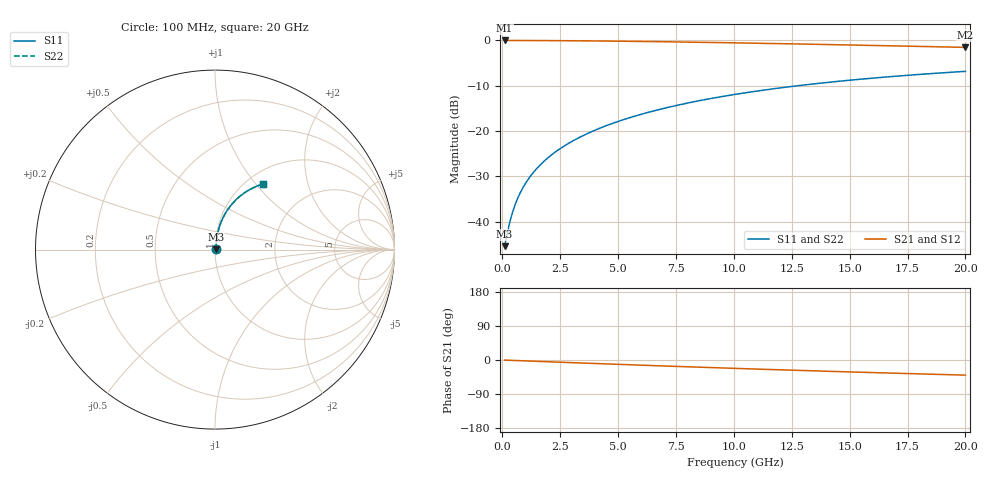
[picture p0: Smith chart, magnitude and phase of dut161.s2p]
! Touchstone file exported from HFSS 2024.1.0
!  File:  C:/UserFiles/LocalFiles/RDL_TSV_Batchsim/temp_RDL_top_161_1778685482.aedt
!  Generated:  11:20:16 PM May 13, 2026
!  Design:  RDL_top
!  Project:  temp_RDL_top_161_1778685482
!  Setup:  Setup1
!  Solution:  Sweep
! Variables:
!  dtsv = 10.80580581um
!  hbump = 3um
!  htsv = 78.25um
!  ldown = 100um
!  lrdl = 471.08um
!  p = 40
!  p1 = 58.15um
!  rhole = 1um
!  t = 450um
!  tdown = 3.915915916um
!  trdl = 2.43um
!  wdown = 15.38538539um
!  wrdl = 15.21um
# GHz S MA R 50.000000
! Terminal data exported
! Port[1] = Box2_T1
! Port[2] = Box2_T2
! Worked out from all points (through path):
!   200 points, 100 MHz to 20 GHz, reference 50 ohm
!   highest |S21| = -0.04 dB at 100 MHz (marker M1); lowest = -1.6 dB at 20 GHz (marker M2)
!   group delay of S21, straight-line fit = 5.54 ps
!   lowest |S11| = -45.4 dB at 100 MHz (marker M3), VSWR 1.01, Z = 50.5 + j0.269 ohm
!   |S11| at or under -10 dB: start of sweep to 12.79 GHz
!   |S22| runs from -45.4 to -6.8 dB; largest |S21 - S12| = 2e-15
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0.1  0.005394 29.6  0.9953 -0.2  0.9953 -0.2  0.005394 29.6
! Gamma 0 0 0 0
! Port Impedance 50 0 50 0
0.3  0.009326 58.5  0.9951 -0.7  0.9951 -0.7  0.009326 58.5
0.4  0.01169 64.6  0.995 -1.0  0.995 -1.0  0.01169 64.6
0.5  0.01412 68.5  0.9948 -1.2  0.9948 -1.2  0.01412 68.5
0.6  0.01658 71.2  0.9946 -1.4  0.9946 -1.4  0.01658 71.2
0.8  0.02152 74.6  0.9943 -1.9  0.9943 -1.9  0.02152 74.6
1.1  0.02896 77.4  0.9937 -2.6  0.9937 -2.6  0.02896 77.4
1.5  0.03891 79.4  0.9927 -3.5  0.9927 -3.5  0.03891 79.4
1.8  0.04642 80.1  0.992 -4.2  0.992 -4.2  0.04642 80.1
2.1  0.05395 80.6  0.9911 -4.9  0.9911 -4.9  0.05395 80.6
2.7  0.06908 80.9  0.989 -6.3  0.989 -6.3  0.06908 80.9
3.5  0.08938 80.6  0.9856 -8.1  0.9856 -8.1  0.08938 80.6
4.2  0.1072 80.0  0.982 -9.7  0.982 -9.7  0.1072 80.0
5  0.1276 79.1  0.9773 -11.5  0.9773 -11.5  0.1276 79.1
5.9  0.1506 77.9  0.9713 -13.5  0.9713 -13.5  0.1505 77.9
6.8  0.1734 76.5  0.9647 -15.4  0.9647 -15.4  0.1734 76.5
8.4  0.2134 73.8  0.9517 -18.8  0.9517 -18.8  0.2133 73.8
10.1  0.2546 70.8  0.9364 -22.2  0.9364 -22.2  0.2546 70.8
11.7  0.2919 67.9  0.9211 -25.4  0.9211 -25.4  0.2919 67.9
13.4  0.3296 64.8  0.904 -28.6  0.904 -28.6  0.3295 64.8
16.7  0.3964 59.1  0.8698 -34.5  0.8698 -34.5  0.3963 59.0
20  0.4546 53.7  0.8351 -39.9  0.8351 -39.9  0.4545 53.6
